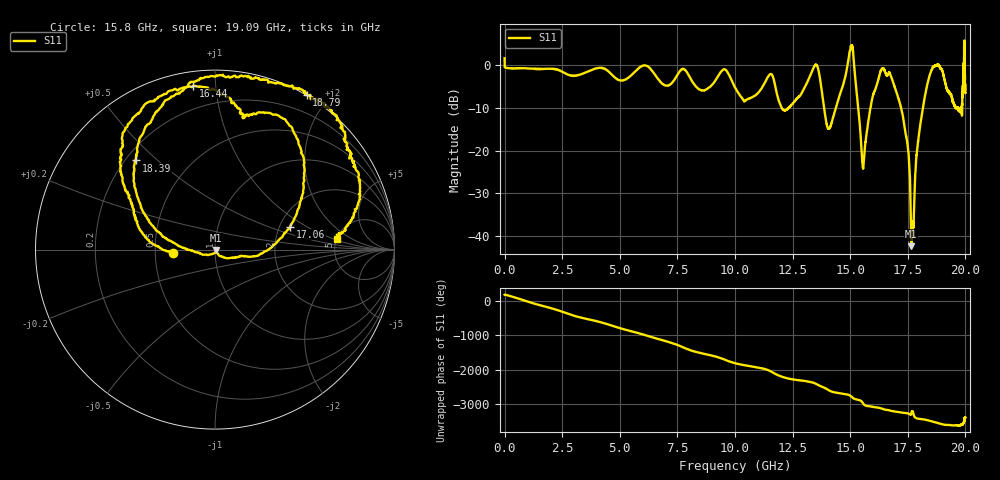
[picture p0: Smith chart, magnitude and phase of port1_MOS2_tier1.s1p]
! Created with skrf 1.8.0 (http://scikit-rf.org).
# GHz S RI R 50.0
!freq ReS11 ImS11
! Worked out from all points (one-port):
!   10001 points, 1 MHz to 20 GHz, reference 50 ohm
!   lowest |S11| = -42.4 dB at 17.65 GHz (marker M1), VSWR 1.02, Z = 50.7 - j0.176 ohm
!   |S11| at or under -10 dB: 13.87 GHz to 14.38 GHz (509.3 MHz wide, 3.61 % of centre); 15.35 GHz to 15.88 GHz (531.7 MHz wide, 3.41 % of centre); 17.21 GHz to 18.16 GHz (946.5 MHz wide, 5.35 % of centre) (the widest 3 of 16)
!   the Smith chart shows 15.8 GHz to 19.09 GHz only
!   S11 on the Smith chart (normalised r, x): 15.8 GHz: 0.62, -0.02; 16.44 GHz: 0.07, +0.87; 17.06 GHz: 2.28, +0.72; 18.39 GHz: 0.24, +0.43; 18.79 GHz: -0.00, +1.75; 19.09 GHz: 4.99, +1.11
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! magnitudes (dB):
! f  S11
! 1 MHz  1.6
! 2.501 GHz  -1.5
! 5.001 GHz  -3.6
! 7.501 GHz  -2.3
! 8.629 GHz  -5.9
! 9.549 GHz  -1.0
! 10 GHz  -5.2
! 10.48 GHz  -8.2
! 11.55 GHz  -2.0
! 12.06 GHz  -10.3
! 12.5 GHz  -9.0
! 13.52 GHz  0.1
! 14.1 GHz  -14.7
! 15 GHz  3.5
! 15.15 GHz  1.5
! 15.54 GHz  -23.2
! 15.8 GHz  -12.7
! 16.44 GHz  -0.7
! 17.06 GHz  -7.2
! 17.5 GHz  -19.2
! 17.65 GHz  -42.4
! 17.73 GHz  -37.3
! 17.95 GHz  -17.8
! 18.39 GHz  -3.6
! 18.79 GHz  0.0
! 19.09 GHz  -3.4
! 19.75 GHz  -10.6
! 20 GHz  -6.5
